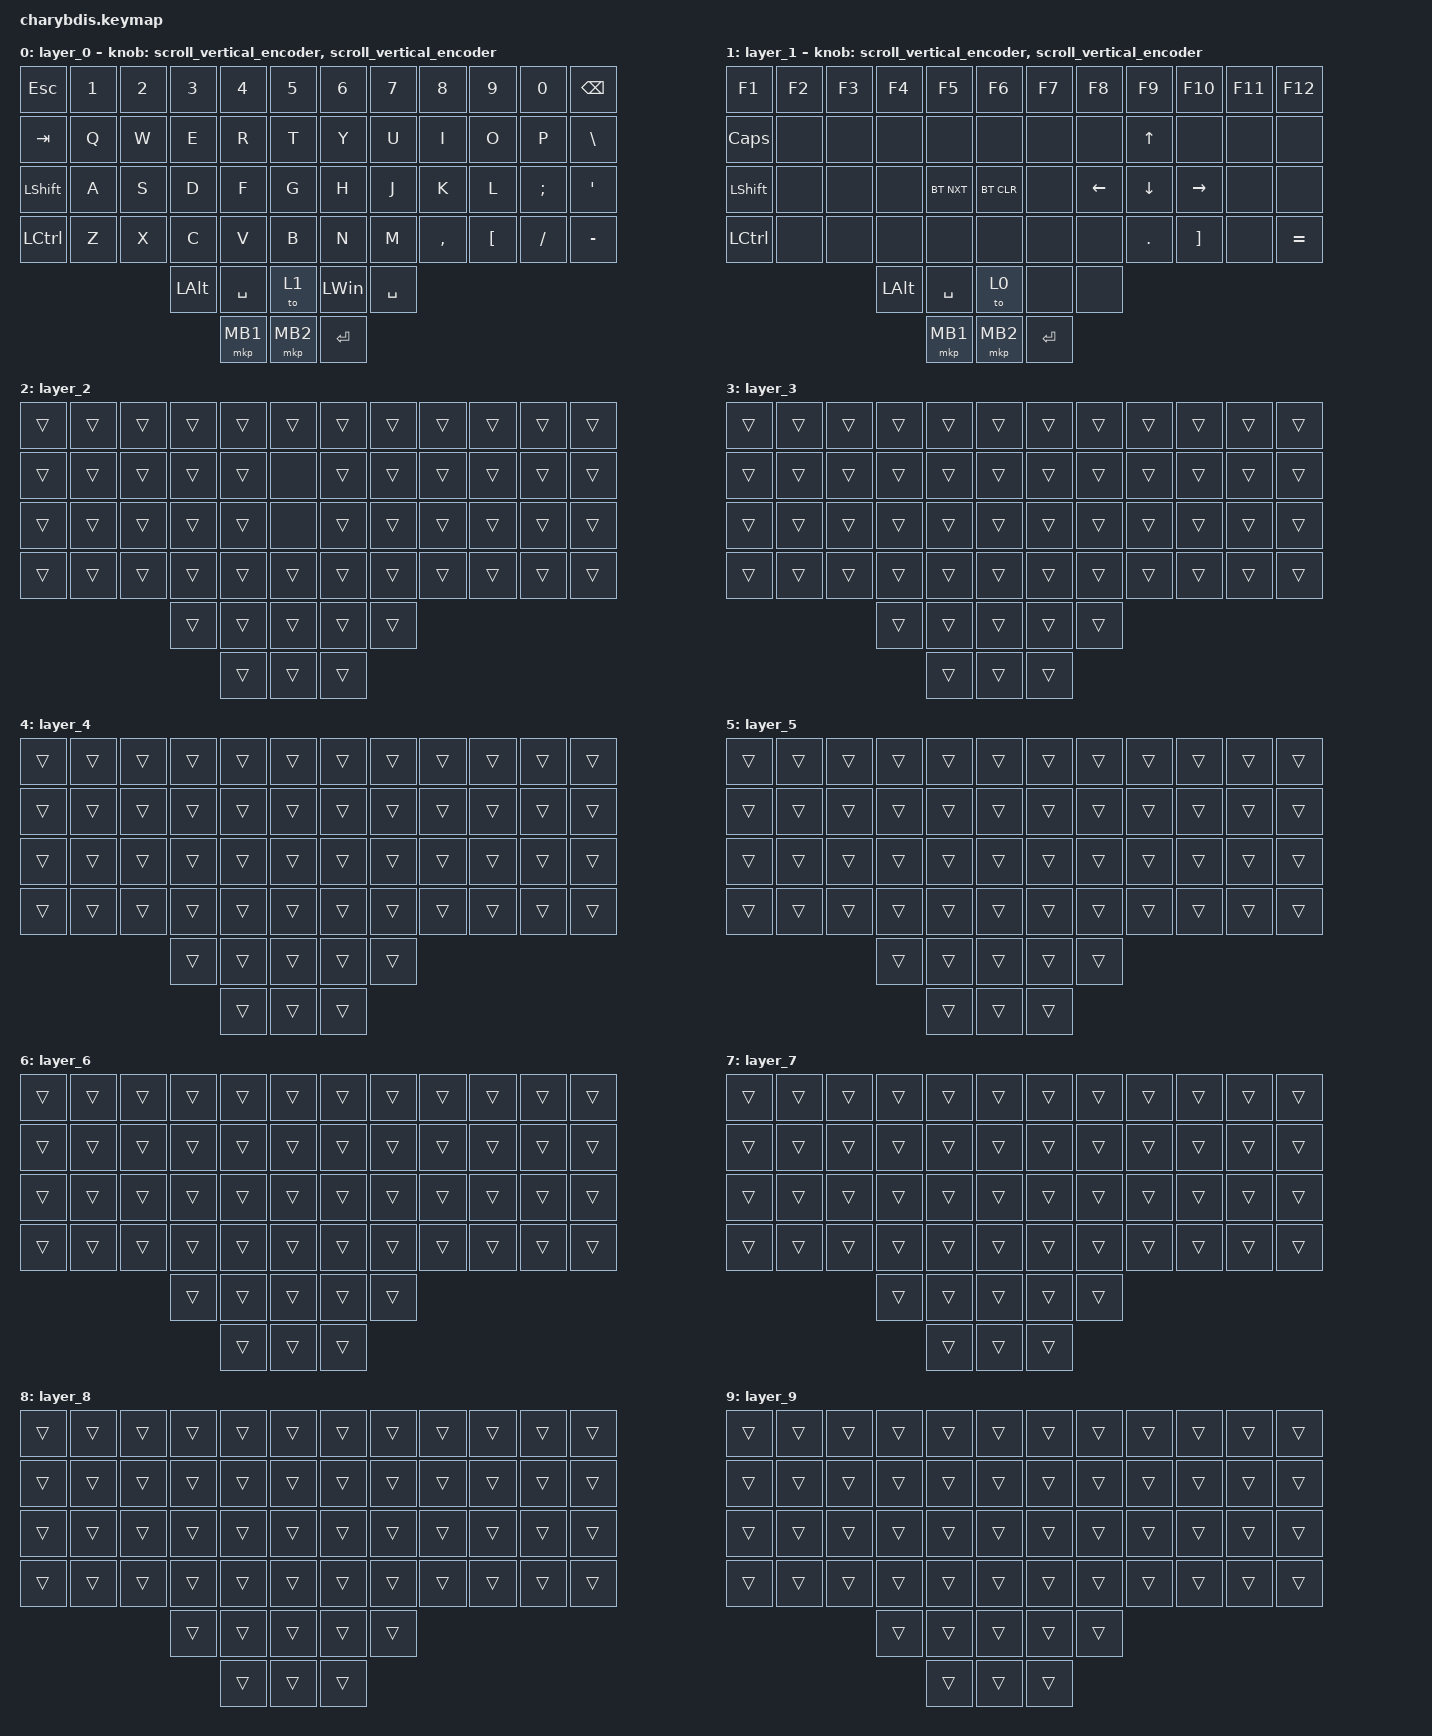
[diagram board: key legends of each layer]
#define ZMK_POINTING_DEFAULT_SCRL_VAL 25   // 10
#include <dt-bindings/zmk/mouse.h>
#include <behaviors.dtsi>
#include <dt-bindings/zmk/bt.h>
#include <dt-bindings/zmk/keys.h>
#include <dt-bindings/zmk/pointing.h>
#include <dt-bindings/zmk/rgb.h>
#include <input/processors.dtsi>
#include <zephyr/dt-bindings/input/input-event-codes.h>



&lt {
    tapping-term-ms = <201>;
    flavor = "balanced";
    quick-tap-ms = <149>;
};


&msc {
    acceleration-exponent = <0>;      // 0
    time-to-max-speed-ms = <100>;       // 300
    delay-ms = <0>;                   // 0
};




/ {
      // 上下滚动编码器行为

    scroll_vertical_encoder: scroll_vertical_encoder {
        compatible = "zmk,behavior-sensor-rotate";
        #sensor-binding-cells = <0>;
        bindings = <&msc SCRL_DOWN>, <&msc SCRL_UP>;

        tap-ms = <64>;
    };

    // 左右滚动编码器行为

    scroll_horizontal_encoder: scroll_horizontal_encoder {
        compatible = "zmk,behavior-sensor-rotate";
        #sensor-binding-cells = <0>;
        bindings = <&msc SCRL_LEFT>, <&msc SCRL_RIGHT>;

        tap-ms = <64>;
    };
    macros {
        To1_macro: To1_macro {
            compatible = "zmk,behavior-macro";
            label = "To1_macro";
            #binding-cells = <0>;
            bindings = <&rgb_ug RGB_EFF &rgb_ug RGB_COLOR_HSB(128,100,50) &to 1>;
        };

        To0_macro: To0_macro {
            compatible = "zmk,behavior-macro";
            label = "To0_macro";
            #binding-cells = <0>;
            bindings = <&rgb_ug RGB_EFR &to 0>;
        };

        To2_macro: To2_macro {
            compatible = "zmk,behavior-macro";
            label = "To2_macro";
            #binding-cells = <0>;
            bindings =
                <&to 0>,
                <&macro_wait_time 30>,
                <&rgb_ug RGB_COLOR_HSB(250,100,50)>;
        };
    };

    keymap {
        compatible = "zmk,keymap";

        layer_0 {
            bindings = <
&kp ESC         &kp N1  &kp N2  &kp N3        &kp N4     &kp N5      &kp N6     &kp N7     &kp N8     &kp N9            &kp N0    &kp BACKSPACE
&kp TAB         &kp Q   &kp W   &kp E         &kp R      &kp T       &kp Y      &kp U      &kp I      &kp O             &kp P     &kp BSLH
&kp LEFT_SHIFT  &kp A   &kp S   &kp D         &kp F      &kp G       &kp H      &kp J      &kp K      &kp L             &kp SEMI  &kp SQT
&kp LCTRL       &kp Z   &kp X   &kp C         &kp V      &kp B       &kp N      &kp M      &kp COMMA  &kp LEFT_BRACKET  &kp FSLH  &kp MINUS
                                &kp LEFT_ALT  &kp SPACE  &to 1       &kp LWIN   &kp SPACE
                                              &mkp MB1   &mkp MB2    &kp ENTER
            >;
            sensor-bindings =<&scroll_vertical_encoder &scroll_vertical_encoder>;
                //<&scroll_vertical_encoder>,
                // 编码器1：上下滚动,,
                //<&scroll_horizontal_encoder>;

            // 编码器2：左右滚动
        };

        layer_1 {
            bindings = <
&kp F1          &kp F2           &kp F3           &kp F4           &kp F5           &kp F6        &kp F7     &kp F8    &kp F9      &kp F10            &kp F11  &kp F12
&kp CAPS        &none            &none            &none            &none            &none         &none      &none     &kp UP      &none              &none    &none
&kp LEFT_SHIFT  &none            &none            &none            &bt BT_NXT       &bt BT_CLR    &none      &kp LEFT  &kp DOWN    &kp RIGHT          &none    &none
&kp LCTRL       &none            &none            &none            &none            &none         &none      &none     &kp PERIOD  &kp RIGHT_BRACKET  &none    &kp EQUAL
                                                  &kp LEFT_ALT     &kp SPACE        &to 0         &none      &none
                                                                   &mkp MB1         &mkp MB2      &kp ENTER
            >;
            sensor-bindings =<&scroll_vertical_encoder &scroll_vertical_encoder>;
        };

        layer_2 {
            bindings = <
&trans  &trans  &trans  &trans  &trans  &trans    &trans  &trans  &trans  &trans  &trans  &trans
&trans  &trans  &trans  &trans  &trans  &none     &trans  &trans  &trans  &trans  &trans  &trans
&trans  &trans  &trans  &trans  &trans  &none     &trans  &trans  &trans  &trans  &trans  &trans
&trans  &trans  &trans  &trans  &trans  &trans    &trans  &trans  &trans  &trans  &trans  &trans
                        &trans  &trans  &trans    &trans  &trans
                                &trans  &trans    &trans
            >;
        };

        layer_3 {
            bindings = <
&trans  &trans  &trans  &trans  &trans  &trans    &trans  &trans  &trans  &trans  &trans  &trans
&trans  &trans  &trans  &trans  &trans  &trans    &trans  &trans  &trans  &trans  &trans  &trans
&trans  &trans  &trans  &trans  &trans  &trans    &trans  &trans  &trans  &trans  &trans  &trans
&trans  &trans  &trans  &trans  &trans  &trans    &trans  &trans  &trans  &trans  &trans  &trans
                        &trans  &trans  &trans    &trans  &trans
                                &trans  &trans    &trans
            >;
        };

        layer_4 {
            bindings = <
&trans  &trans  &trans  &trans  &trans  &trans    &trans  &trans  &trans  &trans  &trans  &trans
&trans  &trans  &trans  &trans  &trans  &trans    &trans  &trans  &trans  &trans  &trans  &trans
&trans  &trans  &trans  &trans  &trans  &trans    &trans  &trans  &trans  &trans  &trans  &trans
&trans  &trans  &trans  &trans  &trans  &trans    &trans  &trans  &trans  &trans  &trans  &trans
                        &trans  &trans  &trans    &trans  &trans
                                &trans  &trans    &trans
            >;
        };

        layer_5 {
            bindings = <
&trans  &trans  &trans  &trans  &trans  &trans    &trans  &trans  &trans  &trans  &trans  &trans
&trans  &trans  &trans  &trans  &trans  &trans    &trans  &trans  &trans  &trans  &trans  &trans
&trans  &trans  &trans  &trans  &trans  &trans    &trans  &trans  &trans  &trans  &trans  &trans
&trans  &trans  &trans  &trans  &trans  &trans    &trans  &trans  &trans  &trans  &trans  &trans
                        &trans  &trans  &trans    &trans  &trans
                                &trans  &trans    &trans
            >;
        };
         layer_6 {
            bindings = <
&trans  &trans  &trans  &trans  &trans  &trans    &trans  &trans  &trans  &trans  &trans  &trans
&trans  &trans  &trans  &trans  &trans  &trans    &trans  &trans  &trans  &trans  &trans  &trans
&trans  &trans  &trans  &trans  &trans  &trans    &trans  &trans  &trans  &trans  &trans  &trans
&trans  &trans  &trans  &trans  &trans  &trans    &trans  &trans  &trans  &trans  &trans  &trans
                        &trans  &trans  &trans    &trans  &trans
                                &trans  &trans    &trans
            >;
        };
         layer_7 {
            bindings = <
&trans  &trans  &trans  &trans  &trans  &trans    &trans  &trans  &trans  &trans  &trans  &trans
&trans  &trans  &trans  &trans  &trans  &trans    &trans  &trans  &trans  &trans  &trans  &trans
&trans  &trans  &trans  &trans  &trans  &trans    &trans  &trans  &trans  &trans  &trans  &trans
&trans  &trans  &trans  &trans  &trans  &trans    &trans  &trans  &trans  &trans  &trans  &trans
                        &trans  &trans  &trans    &trans  &trans
                                &trans  &trans    &trans
            >;
        };
         layer_8 {
            bindings = <
&trans  &trans  &trans  &trans  &trans  &trans    &trans  &trans  &trans  &trans  &trans  &trans
&trans  &trans  &trans  &trans  &trans  &trans    &trans  &trans  &trans  &trans  &trans  &trans
&trans  &trans  &trans  &trans  &trans  &trans    &trans  &trans  &trans  &trans  &trans  &trans
&trans  &trans  &trans  &trans  &trans  &trans    &trans  &trans  &trans  &trans  &trans  &trans
                        &trans  &trans  &trans    &trans  &trans
                                &trans  &trans    &trans
            >;
        };
         layer_9 {
            bindings = <
&trans  &trans  &trans  &trans  &trans  &trans    &trans  &trans  &trans  &trans  &trans  &trans
&trans  &trans  &trans  &trans  &trans  &trans    &trans  &trans  &trans  &trans  &trans  &trans
&trans  &trans  &trans  &trans  &trans  &trans    &trans  &trans  &trans  &trans  &trans  &trans
&trans  &trans  &trans  &trans  &trans  &trans    &trans  &trans  &trans  &trans  &trans  &trans
                        &trans  &trans  &trans    &trans  &trans
                                &trans  &trans    &trans
            >;
        };
    };
};
